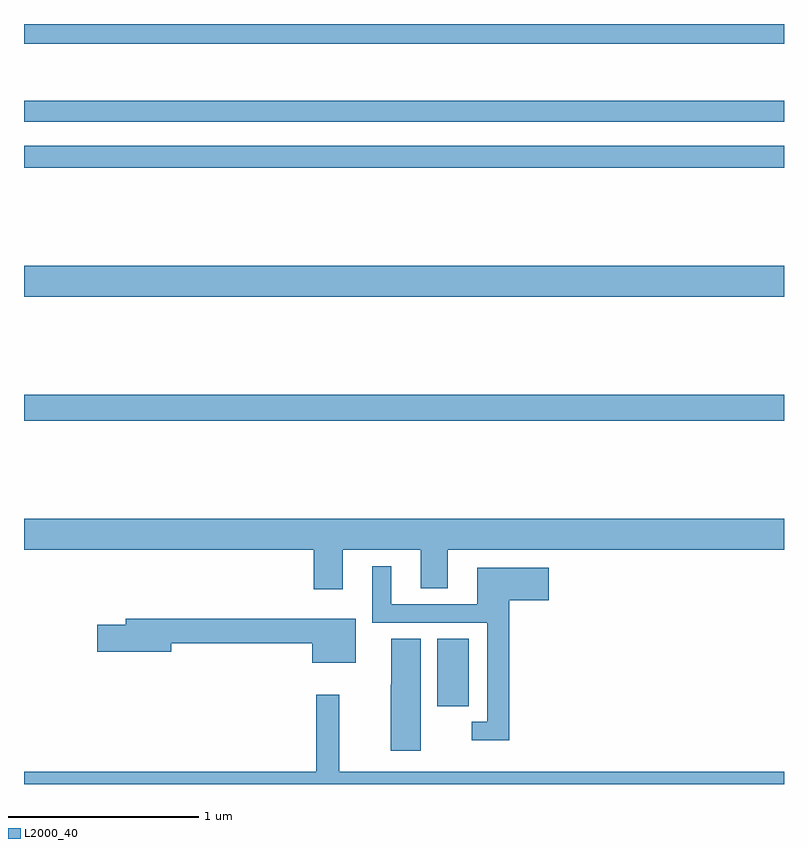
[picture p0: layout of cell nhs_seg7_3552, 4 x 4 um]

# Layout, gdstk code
import gdstk
lib = gdstk.Library(unit=1e-6, precision=1e-09)
def R(c, l, rs):  # rectangles x0, y0, x1, y1
    for r in rs: c.add(gdstk.rectangle(r[:2], r[2:], *l))
def P(c, l, *ps):  # polygons
    for p in ps: c.add(gdstk.Polygon(p, *l))
L2000_40 = (2000, 40)

nhs_seg7_3552 = lib.new_cell('nhs_seg7_3552')
R(nhs_seg7_3552, L2000_40, [(339.176,1050.408,339.34,1050.764), (337,1051.912,341,1052.048), (337,1052.564,341,1052.728), (337,1053.244,341,1053.36), (337,1053.486,341,1053.595), (337,1053.896,341,1054)])
P(nhs_seg7_3552, L2000_40, [(338.677,1051.232),(339.089,1051.232),(339.089,1051.03),(339.229,1051.03),(339.229,1051.232),(341,1051.232),(341,1051.396),(337,1051.396),(337,1051.232),(338.525,1051.232),(338.525,1051.026),(338.677,1051.026)],
  [(339.554,1050.968),(339.763,1050.968),(339.763,1051.138),(339.386,1051.138),(339.386,1050.945),(338.932,1050.945),(338.932,1051.147),(338.834,1051.147),(338.834,1050.849),(339.438,1050.849),(339.438,1050.327),(339.357,1050.327),(339.357,1050.23),(339.554,1050.23)],
  [(338.746,1050.871),(337.535,1050.871),(337.535,1050.837),(337.386,1050.837),(337.386,1050.695),(337.774,1050.695),(337.774,1050.742),(338.516,1050.742),(338.516,1050.638),(338.746,1050.638)],
  [(339.088,1050.764),(338.933,1050.764),(338.933,1050.522),(338.93,1050.522),(338.93,1050.174),(339.088,1050.174)],
  [(341,1050.064),(338.66,1050.064),(338.66,1050.469),(338.539,1050.469),(338.539,1050.064),(337,1050.064),(337,1050),(341,1050)])

lib.write_gds('nhs_seg7_3552.gds')
